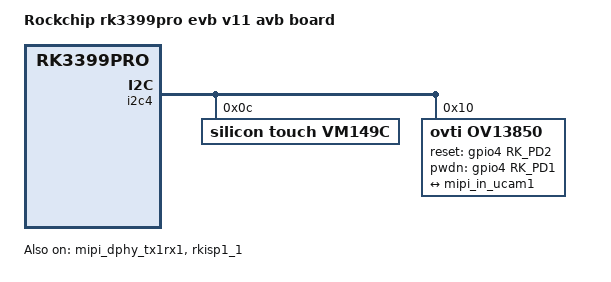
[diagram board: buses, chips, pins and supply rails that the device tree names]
// SPDX-License-Identifier: (GPL-2.0+ OR MIT)
/*
 * Copyright (c) 2018 Fuzhou Rockchip Electronics Co., Ltd
 *
 */

/dts-v1/;
#include "rk3399pro-evb-v11.dtsi"

/ {
	model = "Rockchip rk3399pro evb v11 avb board";
	compatible = "rockchip,rk3399pro-evb-v11-avb", "rockchip,rk3399pro";

	chosen: chosen {
		bootargs = "console=ttyFIQ0 androidboot.baseband=N/A androidboot.wificountrycode=US androidboot.veritymode=enforcing androidboot.hardware=rk30board androidboot.console=ttyFIQ0 firmware_class.path=/vendor/etc/firmware init=/init rootwait ro init=/init androidboot.selinux=permissive";
	};
};

&firmware_android {
	compatible = "android,firmware";
	boot_devices = "fe330000.sdhci";
	vbmeta {
		compatible = "android,vbmeta";
		parts = "vbmeta,boot,system,vendor,dtbo";
	};
	fstab {
		compatible = "android,fstab";
		vendor {
			compatible = "android,vendor";
			dev = "/dev/block/by-name/vendor";
			type = "ext4";
			mnt_flags = "ro,barrier=1,inode_readahead_blks=8";
			fsmgr_flags = "wait,avb";
		};
	};
};

&i2c4 {
	status = "okay";
	i2c-scl-rising-time-ns = <345>;
	i2c-scl-falling-time-ns = <11>;

	vm149c: vm149c@0c {
		compatible = "silicon touch,vm149c";
		status = "okay";
		reg = <0x0c>;
		rockchip,camera-module-index = <0>;
		rockchip,camera-module-facing = "back";
	};

	ov13850: ov13850@10 {
		compatible = "ovti,ov13850";
		status = "okay";
		reg = <0x10>;
		clocks = <&cru SCLK_CIF_OUT>;
		clock-names = "xvclk";

		/* conflict with csi-ctl-gpios */
		reset-gpios = <&gpio4 RK_PD2 GPIO_ACTIVE_HIGH>;
		pwdn-gpios = <&gpio4 RK_PD1 GPIO_ACTIVE_HIGH>;
		pinctrl-names = "rockchip,camera_default";
		pinctrl-0 = <&cif_clkout>;
		rockchip,camera-module-index = <0>;
		rockchip,camera-module-facing = "back";
		rockchip,camera-module-name = "CMK-CT0116";
		rockchip,camera-module-lens-name = "Largan-50013A1";
		lens-focus = <&vm149c>;

		port {
			ucam_out1: endpoint {
				remote-endpoint = <&mipi_in_ucam1>;
				data-lanes = <1 2>;
			};
		};
	};
};

&isp1 {
	status = "disabled";
};

&mipi_dphy_tx1rx1 {
	status = "okay";

	ports {
		#address-cells = <1>;
		#size-cells = <0>;

		port@0 {
			reg = <0>;
			#address-cells = <1>;
			#size-cells = <0>;

			mipi_in_ucam1: endpoint@1 {
				reg = <1>;
				remote-endpoint = <&ucam_out1>;
				data-lanes = <1 2>;
			};
		};

		port@1 {
			reg = <1>;
			#address-cells = <1>;
			#size-cells = <0>;

			dphy_tx1rx1_out: endpoint@0 {
				reg = <0>;
				remote-endpoint = <&isp1_mipi_in>;
			};
		};
	};
};

&rkisp1_1 {
	status = "okay";

	port {
		#address-cells = <1>;
		#size-cells = <0>;

		isp1_mipi_in: endpoint@0 {
			reg = <0>;
			remote-endpoint = <&dphy_tx1rx1_out>;
		};
	};
};
